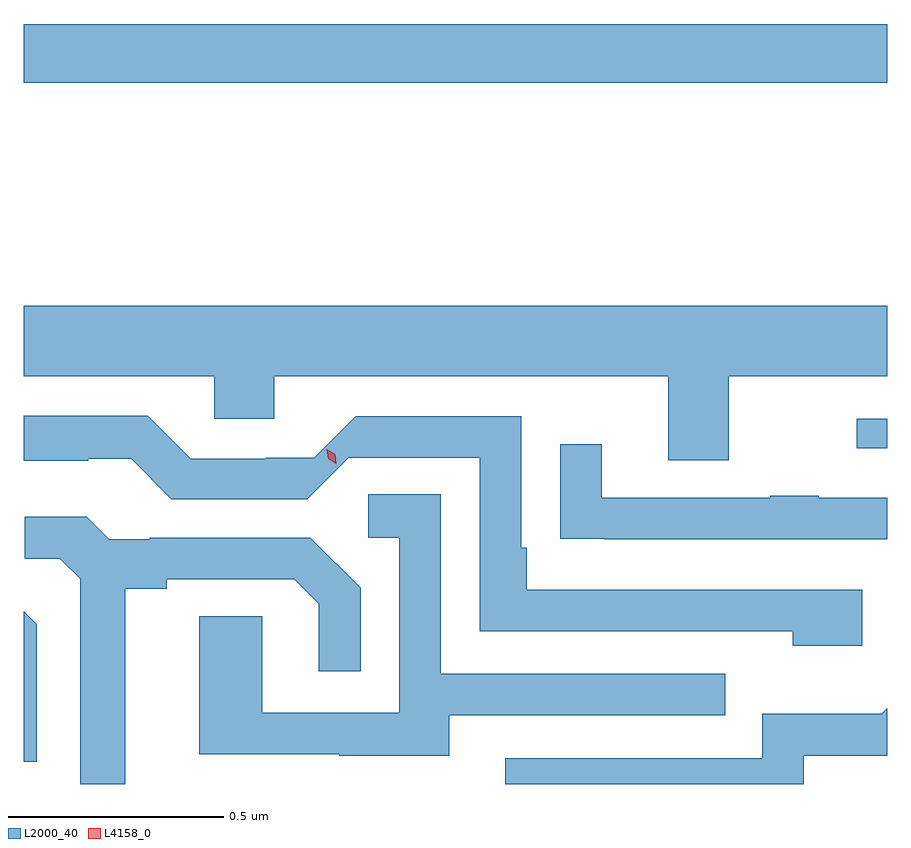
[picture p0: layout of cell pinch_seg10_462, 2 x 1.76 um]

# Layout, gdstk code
import gdstk
lib = gdstk.Library(unit=1e-6, precision=1e-09)
def R(c, l, rs):  # rectangles x0, y0, x1, y1
    for r in rs: c.add(gdstk.rectangle(r[:2], r[2:], *l))
def P(c, l, *ps):  # polygons
    for p in ps: c.add(gdstk.Polygon(p, *l))
L2000_40 = (2000, 40)
L4158_0 = (4158, 0)

pinch_seg10_462 = lib.new_cell('pinch_seg10_462')
R(pinch_seg10_462, L2000_40, [(361.209,1324.125,361.28,1324.194), (359.28,1324.972,361.28,1325.108)])
P(pinch_seg10_462, L2000_40, [(360.913,1324.292),(361.28,1324.292),(361.28,1324.456),(359.28,1324.456),(359.28,1324.292),(359.721,1324.292),(359.721,1324.194),(359.86,1324.194),(359.86,1324.292),(360.773,1324.292),(360.773,1324.098),(360.913,1324.098)],
  [(361.222,1323.798),(360.445,1323.798),(360.445,1323.895),(360.432,1323.895),(360.432,1324.2),(360.049,1324.2),(359.953,1324.104),(359.84,1324.104),(359.84,1324.101),(359.667,1324.101),(359.567,1324.201),(359.28,1324.201),(359.28,1324.097),(359.429,1324.097),(359.429,1324.101),(359.529,1324.101),(359.622,1324.008),(359.937,1324.008),(360.033,1324.104),(360.336,1324.104),(360.336,1323.702),(361.061,1323.702),(361.061,1323.668),(361.222,1323.668)],
  [(361.28,1324.011),(361.121,1324.011),(361.121,1324.016),(361.009,1324.016),(361.009,1324.011),(360.619,1324.011),(360.619,1324.135),(360.523,1324.135),(360.523,1323.916),(360.625,1323.916),(360.625,1323.915),(361.28,1323.915)],
  [(360.265,1323.507),(360.905,1323.507),(360.905,1323.603),(360.246,1323.603),(360.246,1324.019),(360.078,1324.019),(360.078,1323.918),(360.15,1323.918),(360.15,1323.513),(359.832,1323.513),(359.832,1323.737),(359.687,1323.737),(359.687,1323.417),(360.011,1323.417),(360.011,1323.413),(360.265,1323.413)],
  [(359.515,1323.8),(359.611,1323.8),(359.611,1323.822),(359.906,1323.822),(359.963,1323.765),(359.963,1323.609),(360.06,1323.609),(360.06,1323.802),(359.944,1323.918),(359.572,1323.918),(359.572,1323.915),(359.478,1323.915),(359.426,1323.967),(359.283,1323.967),(359.283,1323.87),(359.364,1323.87),(359.411,1323.823),(359.411,1323.348),(359.515,1323.348)],
  [(359.31,1323.718),(359.28,1323.748),(359.28,1323.4),(359.31,1323.4)],
  [(361.086,1323.414),(361.28,1323.414),(361.28,1323.524),(361.267,1323.511),(360.99,1323.511),(360.99,1323.408),(360.395,1323.408),(360.395,1323.348),(361.086,1323.348)])
P(pinch_seg10_462, L4158_0, [(360.004,1324.089),(360.004,1324.09),(359.985,1324.101),(359.982,1324.123),(359.982,1324.123),(359.982,1324.123),(360.002,1324.112),(360.004,1324.09)])

lib.write_gds('pinch_seg10_462.gds')
